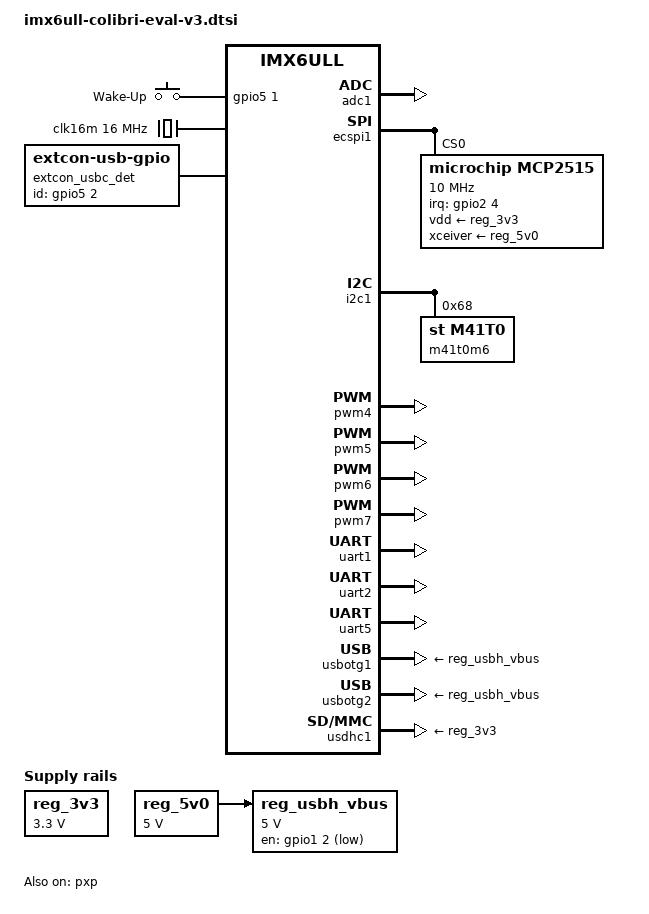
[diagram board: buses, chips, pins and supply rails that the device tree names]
// SPDX-License-Identifier: (GPL-2.0 OR MIT)
/*
 * Copyright 2017 Toradex AG
 */

#include <dt-bindings/pwm/pwm.h>

/ {
	chosen {
		stdout-path = "serial0:115200n8";
	};

	gpio-keys {
		compatible = "gpio-keys";
		pinctrl-names = "default";
		pinctrl-0 = <&pinctrl_snvs_gpiokeys>;
		power {
			label = "Wake-Up";
			gpios = <&gpio5 1 GPIO_ACTIVE_HIGH>;
			linux,code = <KEY_WAKEUP>;
			debounce-interval = <10>;
			wakeup-source;
		};
	};

	/* fixed crystal dedicated to mcp2515 */
	clk16m: clk16m {
		compatible = "fixed-clock";
		#clock-cells = <0>;
		clock-frequency = <16000000>;
	};

	extcon_usbc_det: usbc_det {
		compatible = "linux,extcon-usb-gpio";
		debounce = <25>;
		id-gpio = <&gpio5 2 GPIO_ACTIVE_HIGH>;
		pinctrl-names = "default";
		pinctrl-0 = <&pinctrl_snvs_usbc_det>;
	};

	reg_3v3: regulator-3v3 {
		compatible = "regulator-fixed";
		regulator-name = "3.3V";
		regulator-min-microvolt = <3300000>;
		regulator-max-microvolt = <3300000>;
	};

	reg_5v0: regulator-5v0 {
		compatible = "regulator-fixed";
		regulator-name = "5V";
		regulator-min-microvolt = <5000000>;
		regulator-max-microvolt = <5000000>;
	};

	reg_usbh_vbus: regulator-usbh-vbus {
		compatible = "regulator-fixed";
		pinctrl-names = "default";
		pinctrl-0 = <&pinctrl_usbh_reg>;
		regulator-name = "VCC_USB[1-4]";
		regulator-min-microvolt = <5000000>;
		regulator-max-microvolt = <5000000>;
		gpio = <&gpio1 2 GPIO_ACTIVE_LOW>;
		vin-supply = <&reg_5v0>;
	};
};

&adc1 {
	status = "okay";
};

&pxp {
	status = "okay";
};

&ecspi1 {
	status = "okay";

	mcp2515: can@0 {
		compatible = "microchip,mcp2515";
		pinctrl-names = "default";
		pinctrl-0 = <&pinctrl_can_int>;
		reg = <0>;
		clocks = <&clk16m>;
		interrupt-parent = <&gpio2>;
		interrupts = <4 IRQ_TYPE_EDGE_FALLING>;
		spi-max-frequency = <10000000>;
		vdd-supply = <&reg_3v3>;
		xceiver-supply = <&reg_5v0>;
		status = "okay";
	};

	/* To keep the CAN controller enabled by default,
	 * disable conflicting spidev.
	 */
	spidev0: spidev@0 {
		status = "disabled";
	};
};

&can1 {
	pinctrl-names = "default";
	pinctrl-0 = <&pinctrl_flexcan1>;
	status = "disabled";
};

&can2 {
	pinctrl-names = "default";
	pinctrl-0 = <&pinctrl_flexcan2>;
	status = "disabled";
};

&i2c1 {
	status = "okay";

	/* M41T0M6 real time clock on carrier board */
	m41t0m6: rtc@68 {
		compatible = "st,m41t0";
		reg = <0x68>;
	};
};


&atmel_mxt_ts {
        pinctrl-0 = <&pinctrl_atmel_adap>;
        interrupt-parent = <&gpio4>;
        interrupts = <16 IRQ_TYPE_EDGE_FALLING>;   /* SODIMM 28, INT */
        reset-gpios = <&gpio2 5 GPIO_ACTIVE_HIGH>; /* SODIMM 30, RST */
        status = "disabled";
};

/* PWM <A> */
&pwm4 {
	status = "okay";
};

/*
 * the PCAPs use SODIMM 28/30, also used for PWM<B>, PWM<C>, aka pwm5,
 * pwm6. so if you enable one of the PCAP controllers disable the pwms
 */

/* PWM <B> */
&pwm5 {
	status = "okay";
};

/* PWM <C> */
&pwm6 {
	status = "okay";
};

/* PWM <D> */
&pwm7 {
	status = "okay";
};

&uart1 {
	status = "okay";
};

&uart2 {
	status = "okay";
};

&uart5 {
	status = "okay";
};

&usbotg1 {
	extcon = <&extcon_usbc_det &extcon_usbc_det>;
	vbus-supply = <&reg_usbh_vbus>;
	status = "okay";
};

&usbotg2 {
	vbus-supply = <&reg_usbh_vbus>;
	status = "okay";
};

&usdhc1 {
	vmmc-supply = <&reg_3v3>;
	status = "okay";
};

&iomuxc {
	imx6ull-colibri {
	pinctrl_gpiotouch: touchgpios {
		fsl,pins = <
			MX6UL_PAD_NAND_DQS__GPIO4_IO16		0x74
			MX6UL_PAD_ENET1_TX_EN__GPIO2_IO05	0x14
		>;
	};
	};
};
